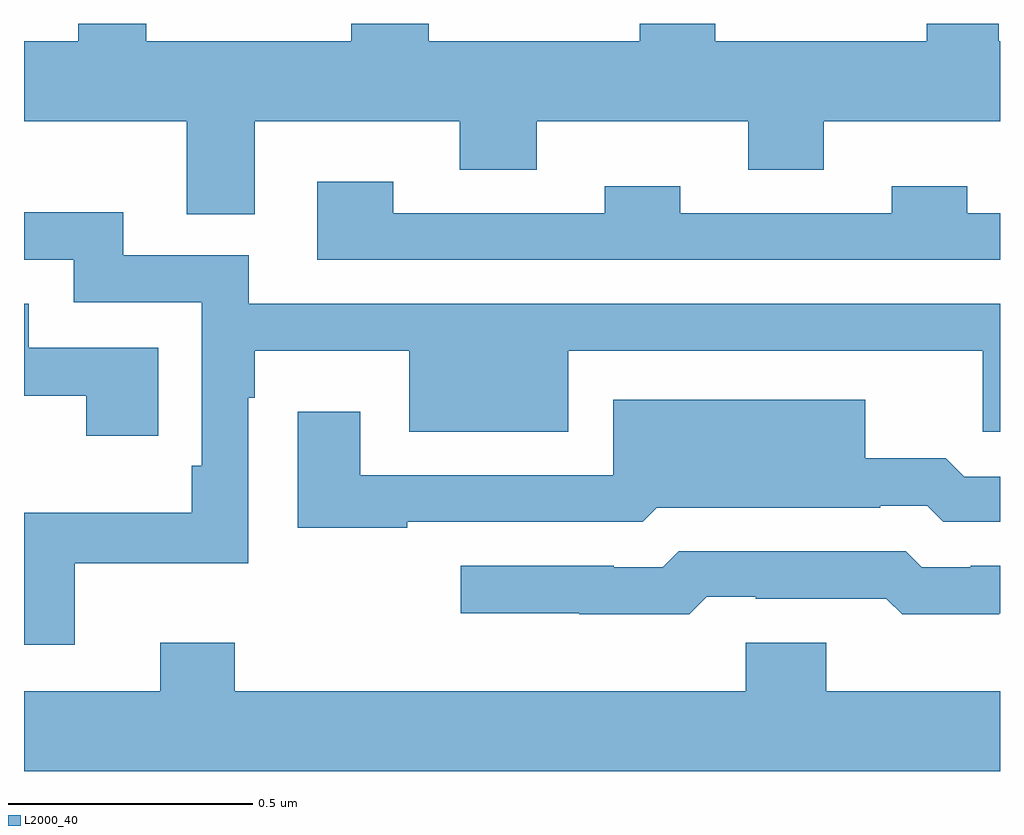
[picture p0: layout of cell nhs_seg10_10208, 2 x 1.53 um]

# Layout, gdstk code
import gdstk
lib = gdstk.Library(unit=1e-6, precision=1e-09)
def P(c, l, *ps):  # polygons
    for p in ps: c.add(gdstk.Polygon(p, *l))
L2000_40 = (2000, 40)

nhs_seg10_10208 = lib.new_cell('nhs_seg10_10208')
P(nhs_seg10_10208, L2000_40, [(239.473,1316.3),(239.893,1316.3),(239.893,1316.201),(240.051,1316.201),(240.051,1316.3),(240.484,1316.3),(240.484,1316.201),(240.639,1316.201),(240.639,1316.3),(241,1316.3),(241,1316.464),(240.997,1316.464),(240.997,1316.5),(240.85,1316.5),(240.85,1316.464),(240.417,1316.464),(240.417,1316.5),(240.262,1316.5),(240.262,1316.464),(239.829,1316.464),(239.829,1316.5),(239.671,1316.5),(239.671,1316.464),(239.251,1316.464),(239.251,1316.5),(239.111,1316.5),(239.111,1316.464),(239,1316.464),(239,1316.3),(239.333,1316.3),(239.333,1316.11),(239.473,1316.11)],
  [(241,1316.112),(240.933,1316.112),(240.933,1316.167),(240.778,1316.167),(240.778,1316.112),(240.345,1316.112),(240.345,1316.167),(240.19,1316.167),(240.19,1316.112),(239.757,1316.112),(239.757,1316.176),(239.601,1316.176),(239.601,1316.016),(241,1316.016)],
  [(239.104,1315.394),(239.46,1315.394),(239.46,1315.733),(239.473,1315.733),(239.473,1315.83),(239.789,1315.83),(239.789,1315.664),(240.115,1315.664),(240.115,1315.83),(240.965,1315.83),(240.965,1315.664),(241,1315.664),(241,1315.926),(239.461,1315.926),(239.461,1316.025),(239.203,1316.025),(239.203,1316.114),(239,1316.114),(239,1316.016),(239.102,1316.016),(239.102,1315.929),(239.364,1315.929),(239.364,1315.594),(239.344,1315.594),(239.344,1315.498),(239,1315.498),(239,1315.227),(239.104,1315.227)],
  [(239.275,1315.836),(239.01,1315.836),(239.01,1315.926),(239,1315.926),(239,1315.738),(239.128,1315.738),(239.128,1315.656),(239.275,1315.656)],
  [(239.785,1315.479),(240.268,1315.479),(240.297,1315.508),(240.755,1315.508),(240.755,1315.512),(240.851,1315.512),(240.884,1315.479),(241,1315.479),(241,1315.572),(240.927,1315.572),(240.889,1315.61),(240.724,1315.61),(240.724,1315.729),(240.207,1315.729),(240.207,1315.575),(239.689,1315.575),(239.689,1315.705),(239.561,1315.705),(239.561,1315.467),(239.785,1315.467)],
  [(240.399,1315.326),(240.499,1315.326),(240.499,1315.322),(240.767,1315.322),(240.8,1315.29),(240.998,1315.29),(240.998,1315.292),(241,1315.292),(241,1315.389),(240.94,1315.389),(240.94,1315.386),(240.84,1315.386),(240.807,1315.419),(240.342,1315.419),(240.309,1315.386),(240.209,1315.386),(240.209,1315.389),(239.895,1315.389),(239.895,1315.292),(240.138,1315.292),(240.138,1315.29),(240.363,1315.29)],
  [(241,1315.132),(240.644,1315.132),(240.644,1315.231),(240.479,1315.231),(240.479,1315.132),(239.432,1315.132),(239.432,1315.231),(239.279,1315.231),(239.279,1315.132),(239,1315.132),(239,1314.968),(241,1314.968)])

lib.write_gds('nhs_seg10_10208.gds')
